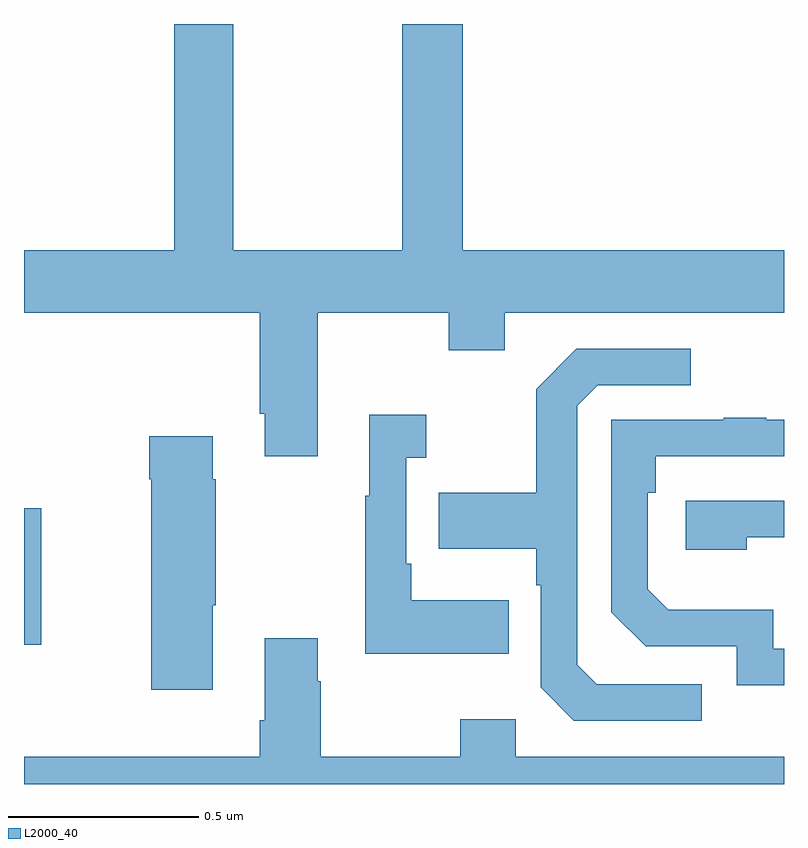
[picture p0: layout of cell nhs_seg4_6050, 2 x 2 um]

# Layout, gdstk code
import gdstk
lib = gdstk.Library(unit=1e-6, precision=1e-09)
def R(c, l, rs):  # rectangles x0, y0, x1, y1
    for r in rs: c.add(gdstk.rectangle(r[:2], r[2:], *l))
def P(c, l, *ps):  # polygons
    for p in ps: c.add(gdstk.Polygon(p, *l))
L2000_40 = (2000, 40)

nhs_seg4_6050 = lib.new_cell('nhs_seg4_6050')
R(nhs_seg4_6050, L2000_40, [(185,809.266,185.046,809.626)])
P(nhs_seg4_6050, L2000_40, [(185.773,810.14),(186.118,810.14),(186.118,810.041),(186.265,810.041),(186.265,810.14),(187,810.14),(187,810.304),(186.155,810.304),(186.155,810.9),(185.995,810.9),(185.995,810.304),(185.55,810.304),(185.55,810.9),(185.395,810.9),(185.395,810.304),(185,810.304),(185,810.14),(185.621,810.14),(185.621,809.875),(185.633,809.875),(185.633,809.763),(185.773,809.763)],
  [(186.784,809.163),(186.507,809.163),(186.456,809.214),(186.456,809.895),(186.51,809.949),(186.754,809.949),(186.754,810.045),(186.453,810.045),(186.348,809.939),(186.348,809.667),(186.091,809.667),(186.091,809.519),(186.348,809.519),(186.348,809.423),(186.36,809.423),(186.36,809.154),(186.447,809.067),(186.784,809.067)],
  [(186.275,809.383),(186.019,809.383),(186.019,809.479),(186.006,809.479),(186.006,809.759),(186.058,809.759),(186.058,809.872),(185.909,809.872),(185.909,809.659),(185.898,809.659),(185.898,809.243),(186.275,809.243)],
  [(187,809.256),(186.972,809.256),(186.972,809.359),(186.695,809.359),(186.642,809.412),(186.642,809.666),(186.662,809.666),(186.662,809.763),(187,809.763),(187,809.859),(186.953,809.859),(186.953,809.864),(186.841,809.864),(186.841,809.859),(186.546,809.859),(186.546,809.352),(186.636,809.262),(186.876,809.262),(186.876,809.16),(187,809.16)],
  [(185.497,809.371),(185.505,809.371),(185.505,809.702),(185.497,809.702),(185.497,809.815),(185.33,809.815),(185.33,809.702),(185.335,809.702),(185.335,809.148),(185.497,809.148)],
  [(186.902,809.55),(187,809.55),(187,809.646),(186.741,809.646),(186.741,809.516),(186.902,809.516)],
  [(187,808.972),(186.294,808.972),(186.294,809.071),(186.148,809.071),(186.148,808.972),(185.781,808.972),(185.781,809.171),(185.773,809.171),(185.773,809.284),(185.633,809.284),(185.633,809.068),(185.621,809.068),(185.621,808.972),(185,808.972),(185,808.9),(187,808.9)])

lib.write_gds('nhs_seg4_6050.gds')
